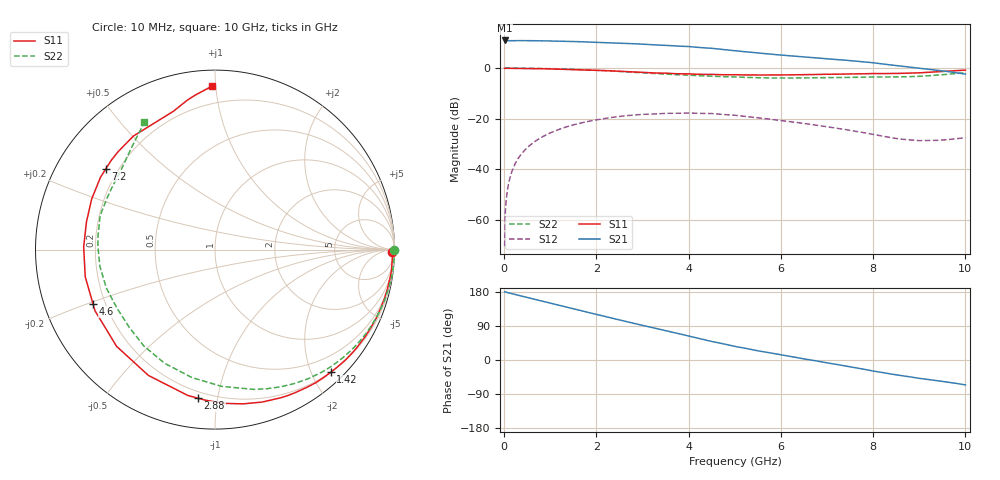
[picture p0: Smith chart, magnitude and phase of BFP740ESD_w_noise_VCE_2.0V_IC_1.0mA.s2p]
! Infineon Technologies  Discrete & RF Semiconductors
! BFP740ESD
! VCE =  2.0 V,  IC =  1.0 mA
! Common Emitter S-Parameters:  Jan 2016
# GHz  S  MA  R  50
!  f  S11  S21  S12  S22
! GHz  MAG  ANG  MAG  ANG  MAG  ANG  MAG  ANG
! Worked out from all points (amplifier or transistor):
!   233 points, 10 MHz to 10 GHz, reference 50 ohm
!   highest |S21| = 10.9 dB at 10 MHz (marker M1)
!   |S21| within 3 dB of that: start of sweep to 4.403 GHz
!   unconditionally stable (mu >= 1): 7.368 GHz to 9.733 GHz
!   at 200 MHz: K = 0.01, MSG = 25.1 dB, |S12| = -39.4 dB
!   at 1.74 GHz: K = 0.15, MSG = 15.9 dB, |S12| = -21.4 dB
!   at 10 GHz: K = 0.56, MSG = 12.6 dB, |S12| = -27.6 dB
!   lowest NFmin = 0.56 dB at 450 MHz
!   S11 on the Smith chart (normalised r, x): 10 MHz: 63, -69; 1.42 GHz: 0.20, -2.30; 2.88 GHz: 0.16, -0.88; 4.6 GHz: 0.15, -0.21; 7.2 GHz: 0.15, +0.32; 10 GHz: 0.09, +0.98
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0.01  0.9856 -0.9  3.516 179.7  0.0003 -136.1  0.9994 0.0
0.015  0.9867 -0.7  3.475 179.7  0.0005 99.7  0.9996 -0.3
0.02  0.9879 -0.5  3.435 179.7  0.0011 86.7  0.9999 -0.5
0.055  0.9896 -1.8  3.457 178.3  0.003 87.4  0.9997 -1.3
0.13  0.9891 -4.2  3.481 176.2  0.007 86.3  0.999 -3.2
0.24  0.9891 -7.8  3.48 172.7  0.0129 83.8  0.9976 -5.9
0.44  0.9837 -14.3  3.487 166.8  0.0235 78.5  0.9934 -10.8
0.7  0.976 -22.9  3.475 158.9  0.0371 71.6  0.9851 -17.2
1.42  0.9398 -46.7  3.363 137.2  0.0718 52.4  0.9469 -35.1
1.68  0.9242 -55.4  3.312 129.6  0.0826 45.7  0.9289 -41.4
2.32  0.8783 -76.9  3.166 111.0  0.1051 29.5  0.8752 -57.1
2.88  0.8334 -96.5  3.012 94.8  0.119 15.2  0.8191 -71.5
3.4  0.7939 -114.4  2.842 80.2  0.1255 2.5  0.7689 -84.6
4  0.7688 -135.5  2.668 63.3  0.1291 -11.3  0.7245 -100.2
4.6  0.7439 -156.0  2.404 46.5  0.1238 -25.2  0.6851 -116.4
5.1  0.7343 -170.8  2.165 33.8  0.1139 -35.5  0.661 -128.6
6  0.7327 167.7  1.813 13.6  0.0918 -49.6  0.6362 -149.1
6.8  0.7471 151.7  1.577 -3.1  0.0735 -56.9  0.6427 -167.3
7.2  0.7567 143.4  1.475 -11.5  0.0648 -59.0  0.6479 -176.7
8  0.7791 125.7  1.272 -29.2  0.0487 -59.5  0.6674 163.5
8.4  0.7798 117.4  1.148 -37.2  0.0418 -54.6  0.6665 153.8
10  0.9103 91.1  0.76 -65.7  0.0419 -24.7  0.8105 119.1
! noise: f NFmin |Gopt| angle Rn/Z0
0.45  0.56  0.79  8  0.39
0.9  0.61  0.78  20  0.38
1.9  0.75  0.68  46  0.32
2.4  0.9  0.65  62  0.33
5.5  1.73  0.49  162  0.1
